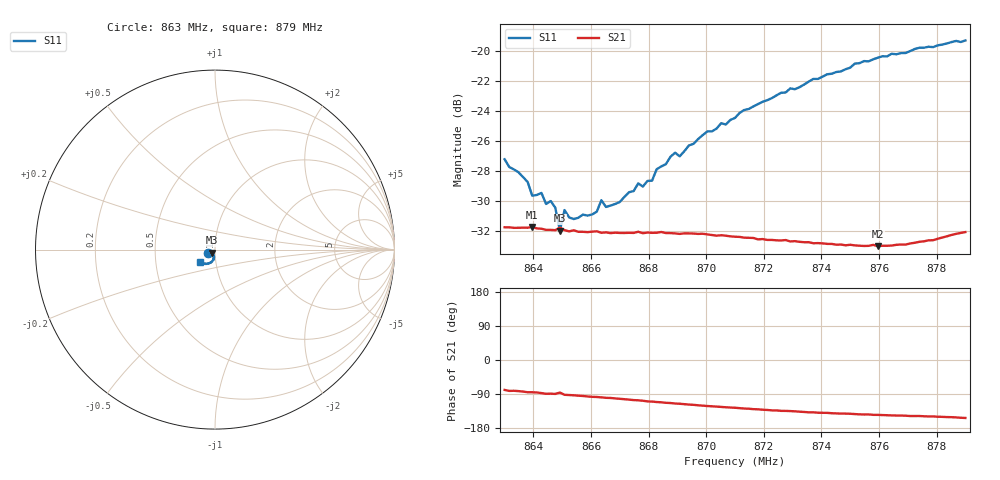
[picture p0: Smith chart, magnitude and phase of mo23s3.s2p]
# HZ S RI R 50
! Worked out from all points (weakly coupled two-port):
!   101 points, 863 MHz to 879 MHz, reference 50 ohm
!   highest |S21| = -31.75 dB at 863.96 MHz (marker M1); lowest = -33.0 dB at 875.96 MHz (marker M2)
!   lowest |S11| = -32.0 dB at 864.92 MHz (marker M3), VSWR 1.05, Z = 48.2 - j1.67 ohm
!   |S11| at or under -10 dB: start of sweep to end of sweep
!   S12 and S22 are empty: the file has one direction only
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8.63e8  -0.0395 -0.0182  0.00493 -0.0253  0 0  0 0
8.638e8  -0.032 -0.0176  0.00221 -0.0256  0 0  0 0
8.6396e8  -0.0281 -0.0171  0.0022 -0.0258  0 0  0 0
8.6428e8  -0.0275 -0.0192  0.00121 -0.0255  0 0  0 0
8.646e8  -0.0246 -0.0197  0.000509 -0.0253  0 0  0 0
8.6476e8  -0.0234 -0.0187  0.00022 -0.0252  0 0  0 0
8.6492e8  -0.0182 -0.0173  0.00185 -0.0257  0 0  0 0
8.6508e8  -0.0212 -0.0205  -0.000811 -0.0252  0 0  0 0
8.654e8  -0.0175 -0.0212  -0.00137 -0.0252  0 0  0 0
8.6572e8  -0.0166 -0.023  -0.00215 -0.0248  0 0  0 0
8.662e8  -0.0139 -0.0256  -0.00331 -0.0248  0 0  0 0
8.6636e8  -0.0149 -0.028  -0.00371 -0.0244  0 0  0 0
8.6652e8  -0.0116 -0.0278  -0.00423 -0.0244  0 0  0 0
8.67e8  -0.00988 -0.0297  -0.00532 -0.0241  0 0  0 0
8.6764e8  -0.00931 -0.0349  -0.00702 -0.0239  0 0  0 0
8.6812e8  -0.00622 -0.0364  -0.00834 -0.0233  0 0  0 0
8.6844e8  -0.00627 -0.0407  -0.00917 -0.0231  0 0  0 0
8.71e8  -0.0111 -0.0587  -0.0141 -0.0194  0 0  0 0
8.7372e8  -0.029 -0.0752  -0.017 -0.0152  0 0  0 0
8.7596e8  -0.0502 -0.0805  -0.0182 -0.0129  0 0  0 0
8.7644e8  -0.0575 -0.0791  -0.0186 -0.0125  0 0  0 0
8.79e8  -0.0849 -0.0673  -0.0221 -0.0113  0 0  0 0
